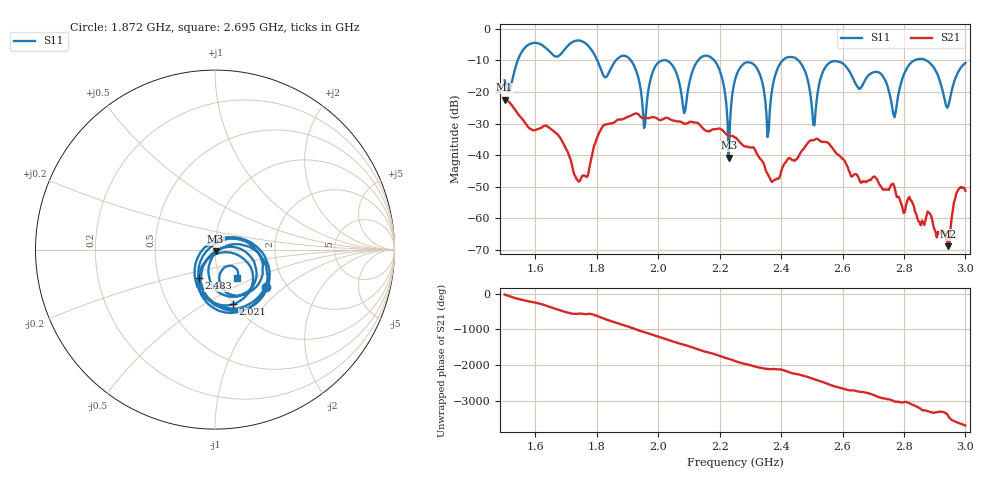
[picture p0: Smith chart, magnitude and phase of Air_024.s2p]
# HZ S RI R 50
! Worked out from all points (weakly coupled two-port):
!   404 points, 1.5 GHz to 3 GHz, reference 50 ohm
!   highest |S21| = -22.46 dB at 1.5 GHz (marker M1); lowest = -68.9 dB at 2.944 GHz (marker M2)
!   lowest |S11| = -40.8 dB at 2.23 GHz (marker M3), VSWR 1.02, Z = 50.3 - j0.868 ohm
!   |S11| at or under -10 dB: 2.183 GHz to 2.405 GHz (222.5 MHz wide, 9.7 % of centre); 2.456 GHz to 2.833 GHz (376.6 MHz wide, 14.2 % of centre); 2.873 GHz to end of sweep (the widest 3 of 7)
!   S12 and S22 are empty: the file has one direction only
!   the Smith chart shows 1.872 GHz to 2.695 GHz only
!   S11 on the Smith chart (normalised r, x): 1.872 GHz: 1.57, -0.75; 2.021 GHz: 1.00, -0.68; 2.483 GHz: 0.80, -0.26; 2.695 GHz: 1.21, -0.40
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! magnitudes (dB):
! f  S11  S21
! 1.5 GHz  -16.3  -22.5
! 1.582 GHz  -4.8  -31.6
! 1.753 GHz  -3.9  -46.6
! 1.872 GHz  -9.1  -28.7
! 1.954 GHz  -31.5  -28.3
! 2.002 GHz  -10.5  -28.8
! 2.021 GHz  -9.9  -28.3
! 2.084 GHz  -26.7  -30.0
! 2.177 GHz  -9.5  -31.9
! 2.23 GHz  -40.8  -33.9
! 2.252 GHz  -15.5  -34.5
! 2.315 GHz  -11.6  -38.3
! 2.356 GHz  -34.3  -45.9
! 2.404 GHz  -10.1  -43.9
! 2.483 GHz  -14.7  -36.7
! 2.501 GHz  -25.8  -35.3
! 2.561 GHz  -10.5  -37.0
! 2.695 GHz  -14.0  -47.5
! 2.751 GHz  -19.6  -51.1
! 2.862 GHz  -9.6  -61.5
! 2.944 GHz  -24.5  -68.9
! 3 GHz  -10.8  -51.4
